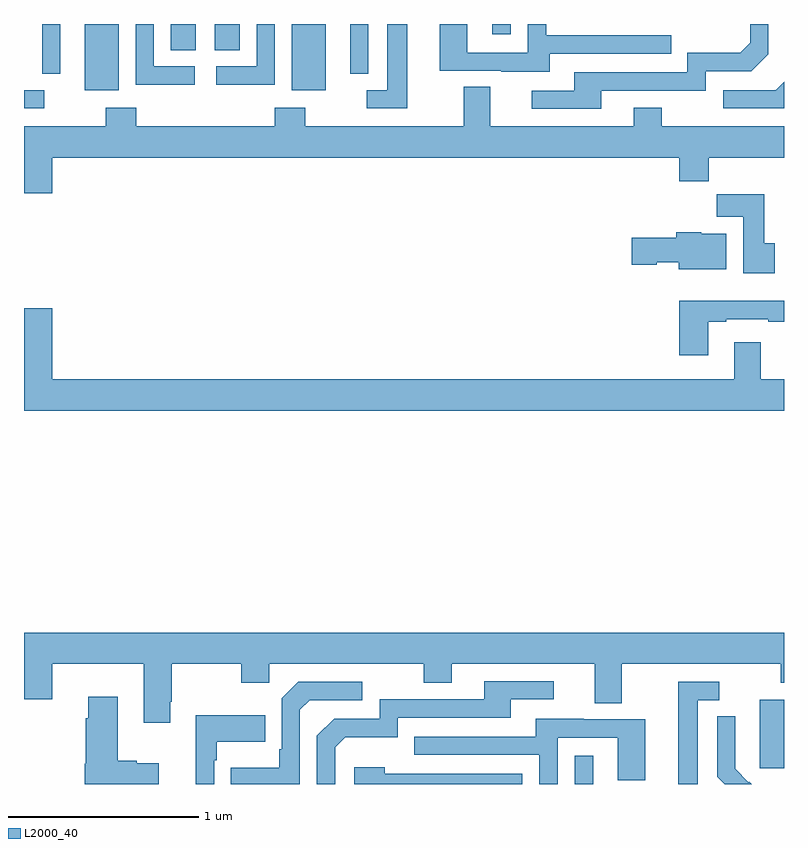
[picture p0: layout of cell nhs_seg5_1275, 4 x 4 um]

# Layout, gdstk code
import gdstk
lib = gdstk.Library(unit=1e-6, precision=1e-09)
def R(c, l, rs):  # rectangles x0, y0, x1, y1
    for r in rs: c.add(gdstk.rectangle(r[:2], r[2:], *l))
def P(c, l, *ps):  # polygons
    for p in ps: c.add(gdstk.Polygon(p, *l))
L2000_40 = (2000, 40)

nhs_seg5_1275 = lib.new_cell('nhs_seg5_1275')
R(nhs_seg5_1275, L2000_40, [(191.898,850.799,191.995,850.948), (192.872,850.881,193,851.242), (189,854.355,189.106,854.451), (189.32,854.45,189.499,854.799), (190.409,854.45,190.588,854.799), (189.773,854.662,189.904,854.799), (190.004,854.662,190.135,854.799), (191.465,854.745,191.562,854.799)])
P(nhs_seg5_1275, L2000_40, [(191.017,854.799),(190.913,854.799),(190.913,854.451),(190.803,854.451),(190.803,854.355),(191.017,854.355)],
  [(191.767,854.643),(192.407,854.643),(192.407,854.739),(191.748,854.739),(191.748,854.799),(191.652,854.799),(191.652,854.649),(191.334,854.649),(191.334,854.799),(191.189,854.799),(191.189,854.553),(191.513,854.553),(191.513,854.549),(191.767,854.549)],
  [(192.037,854.448),(192.588,854.448),(192.588,854.55),(192.828,854.55),(192.918,854.64),(192.918,854.799),(192.822,854.799),(192.822,854.7),(192.769,854.647),(192.492,854.647),(192.492,854.544),(191.897,854.544),(191.897,854.448),(191.673,854.448),(191.673,854.352),(192.037,854.352)],
  [(190.32,854.799),(190.224,854.799),(190.224,854.577),(190.011,854.577),(190.011,854.479),(190.32,854.479)],
  [(190.812,854.799),(190.718,854.799),(190.718,854.69),(190.716,854.69),(190.716,854.536),(190.812,854.536)],
  [(189.192,854.69),(189.191,854.69),(189.191,854.799),(189.096,854.799),(189.096,854.536),(189.192,854.536)],
  [(189.898,854.577),(189.684,854.577),(189.684,854.799),(189.588,854.799),(189.588,854.479),(189.898,854.479)],
  [(193,854.494),(192.957,854.451),(192.681,854.451),(192.681,854.355),(193,854.355)],
  [(189.148,854.096),(192.449,854.096),(192.449,853.972),(192.605,853.972),(192.605,854.096),(193,854.096),(193,854.26),(192.357,854.26),(192.357,854.359),(192.209,854.359),(192.209,854.26),(191.455,854.26),(191.455,854.468),(191.315,854.468),(191.315,854.26),(190.479,854.26),(190.479,854.359),(190.319,854.359),(190.319,854.26),(189.59,854.26),(189.59,854.359),(189.43,854.359),(189.43,854.26),(189,854.26),(189,853.908),(189.148,853.908)],
  [(192.952,853.644),(192.895,853.644),(192.895,853.903),(192.646,853.903),(192.646,853.784),(192.785,853.784),(192.785,853.488),(192.952,853.488)],
  [(192.697,853.696),(192.564,853.696),(192.564,853.702),(192.434,853.702),(192.434,853.674),(192.198,853.674),(192.198,853.532),(192.33,853.532),(192.33,853.544),(192.446,853.544),(192.446,853.508),(192.697,853.508)],
  [(192.601,853.233),(192.697,853.233),(192.697,853.245),(192.917,853.245),(192.917,853.233),(193,853.233),(193,853.342),(192.449,853.342),(192.449,853.056),(192.601,853.056)],
  [(192.737,853.123),(192.737,852.928),(189.148,852.928),(189.148,853.303),(189,853.303),(189,852.764),(193,852.764),(193,852.928),(192.877,852.928),(192.877,853.123)],
  [(189.769,851.233),(189.777,851.233),(189.777,851.432),(190.144,851.432),(190.144,851.333),(190.29,851.333),(190.29,851.432),(191.104,851.432),(191.104,851.333),(191.251,851.333),(191.251,851.432),(192.005,851.432),(192.005,851.224),(192.145,851.224),(192.145,851.432),(192.982,851.432),(192.982,851.333),(193,851.333),(193,851.596),(189,851.596),(189,851.244),(189.148,851.244),(189.148,851.432),(189.629,851.432),(189.629,851.121),(189.769,851.121)],
  [(190.638,850.992),(190.691,851.045),(190.968,851.045),(190.968,851.148),(191.563,851.148),(191.563,851.244),(191.788,851.244),(191.788,851.34),(191.423,851.34),(191.423,851.244),(190.872,851.244),(190.872,851.142),(190.632,851.142),(190.542,851.052),(190.542,850.799),(190.638,850.799)],
  [(190.452,851.19),(190.503,851.241),(190.78,851.241),(190.78,851.337),(190.443,851.337),(190.356,851.25),(190.356,850.981),(190.344,850.981),(190.344,850.885),(190.087,850.885),(190.087,850.799),(190.452,850.799)],
  [(192.547,851.241),(192.658,851.241),(192.658,851.337),(192.443,851.337),(192.443,850.799),(192.547,850.799)],
  [(189.709,850.909),(189.593,850.909),(189.593,850.922),(189.493,850.922),(189.493,851.257),(189.338,851.257),(189.338,851.144),(189.326,851.144),(189.326,850.905),(189.32,850.905),(189.32,850.799),(189.709,850.799)],
  [(190.002,850.925),(190.015,850.925),(190.015,851.021),(190.271,851.021),(190.271,851.161),(189.905,851.161),(189.905,850.799),(190.002,850.799)],
  [(192.816,850.812),(192.813,850.809),(192.743,850.88),(192.743,851.002),(192.744,851.002),(192.744,851.156),(192.648,851.156),(192.648,850.838),(192.687,850.799),(192.829,850.799)],
  [(191.808,851.043),(192.126,851.043),(192.126,850.819),(192.271,850.819),(192.271,851.139),(191.947,851.139),(191.947,851.143),(191.693,851.143),(191.693,851.049),(191.053,851.049),(191.053,850.953),(191.712,850.953),(191.712,850.799),(191.808,850.799)],
  [(191.622,850.854),(190.898,850.854),(190.898,850.888),(190.737,850.888),(190.737,850.799),(191.622,850.799)])

lib.write_gds('nhs_seg5_1275.gds')
